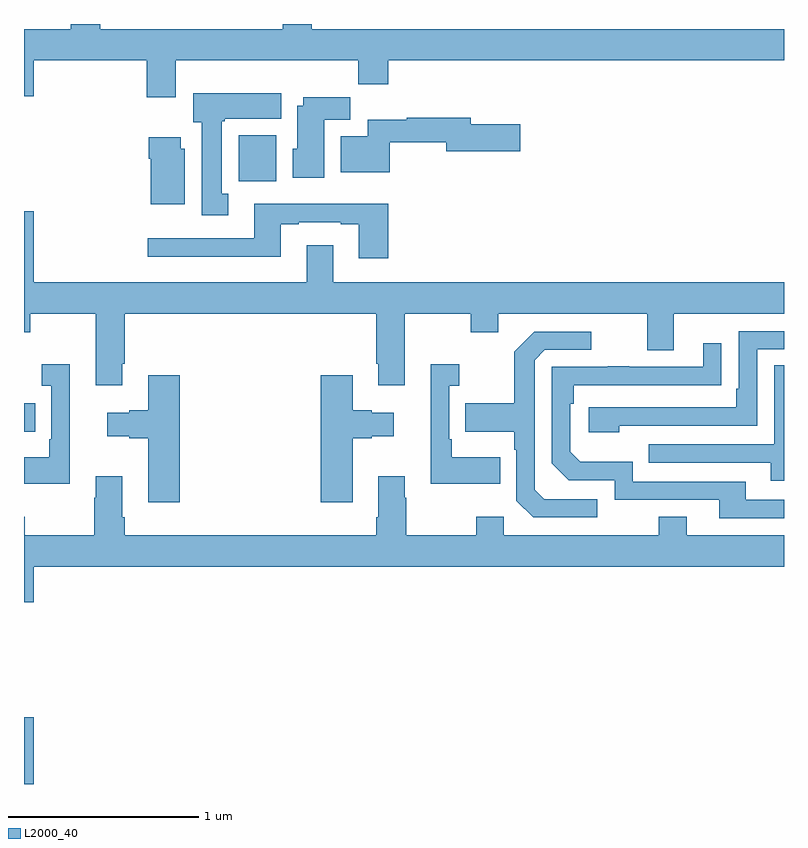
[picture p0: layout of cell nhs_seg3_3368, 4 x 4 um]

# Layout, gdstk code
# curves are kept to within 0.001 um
import gdstk
lib = gdstk.Library(unit=1e-6, precision=1e-09)
def R(c, l, rs):  # rectangles x0, y0, x1, y1
    for r in rs: c.add(gdstk.rectangle(r[:2], r[2:], *l))
def P(c, l, *ps):  # polygons
    for p in ps: c.add(gdstk.Polygon(p, *l))
L2000_40 = (2000, 40)

nhs_seg3_3368 = lib.new_cell('nhs_seg3_3368')
R(nhs_seg3_3368, L2000_40, [(285,738.4,285.052,738.751), (285,740.255,285.059,740.403), (286.13,741.572,286.327,741.814)])
P(nhs_seg3_3368, L2000_40, [(285.799,742.208),(286.759,742.208),(286.759,742.084),(286.916,742.084),(286.916,742.208),(289,742.208),(289,742.372),(286.514,742.372),(286.514,742.4),(286.361,742.4),(286.361,742.372),(285.401,742.372),(285.401,742.4),(285.245,742.4),(285.245,742.372),(285,742.372),(285,742.02),(285.052,742.02),(285.052,742.208),(285.647,742.208),(285.647,742.014),(285.799,742.014)],
  [(286.075,741.506),(286.042,741.506),(286.042,741.889),(286.056,741.889),(286.056,741.902),(286.354,741.902),(286.354,742.036),(285.89,742.036),(285.89,741.882),(285.935,741.882),(285.935,741.393),(286.075,741.393)],
  [(286.579,741.896),(286.718,741.896),(286.718,742.015),(286.469,742.015),(286.469,741.97),(286.439,741.97),(286.439,741.744),(286.415,741.744),(286.415,741.59),(286.579,741.59)],
  [(286.926,741.778),(287.222,741.778),(287.222,741.731),(287.611,741.731),(287.611,741.873),(287.35,741.873),(287.35,741.907),(287.014,741.907),(287.014,741.896),(286.808,741.896),(286.808,741.808),(286.667,741.808),(286.667,741.62),(286.926,741.62)],
  [(285.847,741.744),(285.826,741.744),(285.826,741.805),(285.656,741.805),(285.656,741.692),(285.668,741.692),(285.668,741.452),(285.847,741.452)],
  [(286.916,741.454),(286.211,741.454),(286.211,741.273),(285.651,741.273),(285.651,741.176),(286.351,741.176),(286.351,741.345),(286.447,741.345),(286.447,741.357),(286.667,741.357),(286.667,741.345),(286.763,741.345),(286.763,741.168),(286.916,741.168)],
  [(285.517,740.611),(285.53,740.611),(285.53,740.876),(286.853,740.876),(286.853,740.611),(286.865,740.611),(286.865,740.499),(287.005,740.499),(287.005,740.876),(287.35,740.876),(287.35,740.777),(287.497,740.777),(287.497,740.876),(288.281,740.876),(288.281,740.682),(288.421,740.682),(288.421,740.876),(289,740.876),(289,741.04),(286.627,741.04),(286.627,741.235),(286.487,741.235),(286.487,741.04),(285.052,741.04),(285.052,741.415),(285,741.415),(285,740.777),(285.033,740.777),(285.033,740.876),(285.377,740.876),(285.377,740.499),(285.517,740.499)],
  [(288.134,740.286),(288.858,740.286),(288.858,740.688),(289,740.688),(289,740.784),(288.762,740.784),(288.762,740.479),(288.749,740.479),(288.749,740.382),(287.973,740.382),(287.973,740.252),(288.134,740.252)],
  [(288.016,739.899),(287.739,739.899),(287.688,739.95),(287.688,740.631),(287.742,740.685),(287.986,740.685),(287.986,740.781),(287.685,740.781),(287.58,740.675),(287.58,740.403),(287.323,740.403),(287.323,740.255),(287.58,740.255),(287.58,740.159),(287.592,740.159),(287.592,739.89),(287.679,739.803),(288.016,739.803)],
  [(289,739.896),(288.799,739.896),(288.799,739.992),(288.204,739.992),(288.204,740.095),(287.927,740.095),(287.874,740.148),(287.874,740.402),(287.894,740.402),(287.894,740.499),(288.671,740.5),(288.671,740.719),(288.575,740.719),(288.575,740.595),(288.185,740.595),(288.185,740.6),(288.073,740.6),(288.073,740.595),(287.778,740.595),(287.778,740.088),(287.868,739.998),(288.108,739.998),(288.108,739.896),(288.659,739.896),(288.659,739.8),(289,739.8)],
  [(287.507,740.119),(287.251,740.119),(287.251,740.215),(287.238,740.215),(287.238,740.495),(287.29,740.495),(287.29,740.608),(287.141,740.608),(287.141,739.979),(287.507,739.979)],
  [(285.242,740.608),(285.093,740.608),(285.093,740.495),(285.144,740.495),(285.144,740.215),(285.132,740.215),(285.132,740.119),(285,740.119),(285,739.979),(285.242,739.979)],
  [(289,740.603),(288.948,740.603),(288.948,740.187),(288.289,740.187),(288.289,740.091),(288.929,740.091),(288.929,739.997),(289,739.997)],
  [(286.729,740.219),(286.829,740.219),(286.829,740.231),(286.945,740.231),(286.945,740.353),(286.829,740.353),(286.829,740.366),(286.729,740.366),(286.729,740.551),(286.562,740.551),(286.562,739.884),(286.729,739.884)],
  [(285.821,740.551),(285.653,740.551),(285.653,740.366),(285.554,740.366),(285.554,740.353),(285.438,740.353),(285.438,740.231),(285.554,740.231),(285.554,740.219),(285.653,740.219),(285.653,739.884),(285.821,739.884)],
  [(285.052,739.544),(289,739.544),(289,739.708),(288.487,739.708),(288.487,739.807),(288.34,739.807),(288.34,739.708),(287.526,739.708),(287.526,739.807),(287.38,739.807),(287.38,739.708),(287.013,739.708),(287.013,739.907),(287.005,739.907),(287.005,740.02),(286.865,740.02),(286.865,739.804),(286.853,739.804),(286.853,739.708),(285.53,739.708),(285.53,739.804),(285.517,739.804),(285.517,740.02),(285.377,740.02),(285.377,739.907),(285.37,739.907),(285.37,739.708),(285.003,739.708),(285.003,739.807),(285,739.807),(285,739.356),(285.052,739.356)])

lib.write_gds('nhs_seg3_3368.gds')
